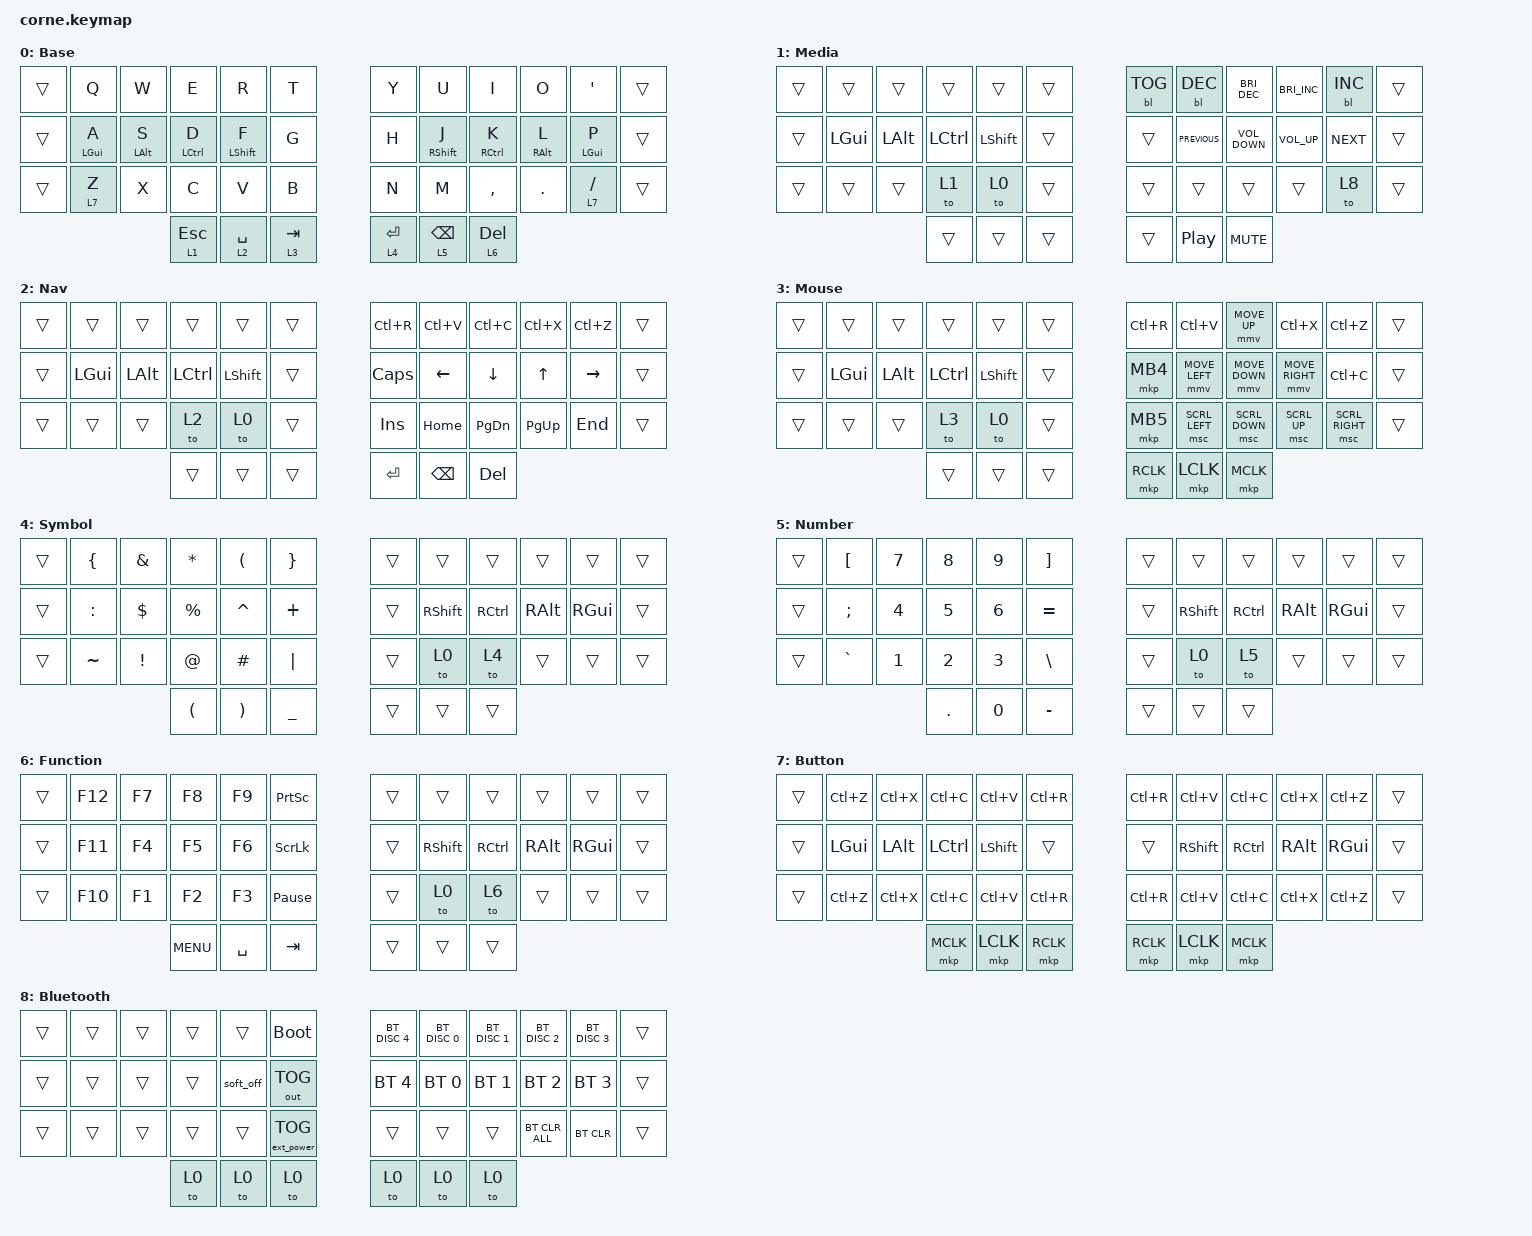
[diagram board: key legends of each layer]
/*
 * Copyright (c) 2020 The ZMK Contributors
 *
 * SPDX-License-Identifier: MIT
 */

#include <behaviors/mouse_keys.dtsi>
#include <dt-bindings/zmk/mouse.h>
#include <behaviors.dtsi>
#include <dt-bindings/zmk/backlight.h>
#include <dt-bindings/zmk/bt.h>
#include <dt-bindings/zmk/ext_power.h>
#include <dt-bindings/zmk/keys.h>
#include <dt-bindings/zmk/outputs.h>
#include <dt-bindings/zmk/pointing.h>

// Macro to apply momentary-layer-on-hold/to-layer-on-tap

#define MO_TO(layer) &mo_to layer layer

&mmv {
    time-to-max-speed-ms = <250>;
    acceleration-exponent = <1>;
};

/ {
    combos {
        compatible = "zmk,combos";

        // layer switch combo
    };
};

/ {
    behaviors {
        // Homerow mods from zmk website

        hml: home_row_mod_left {
            compatible = "zmk,behavior-hold-tap";
            #binding-cells = <2>;
            flavor = "balanced";
            require-prior-idle-ms = <150>;
            tapping-term-ms = <280>;
            quick-tap-ms = <175>;
            bindings = <&kp>, <&kp>;

            hold-trigger-key-positions = <
                6 7 8 9 10 11 
                18 19 20 21 22 23 
                30 31 32 33 34 35 
                39 40 41
            >;

            // List of keys on the right side of the keyboard

            hold-trigger-on-release;
        };

        hmr: home_row_mod_right {
            compatible = "zmk,behavior-hold-tap";
            #binding-cells = <2>;
            flavor = "balanced";
            require-prior-idle-ms = <150>;
            tapping-term-ms = <280>;
            quick-tap-ms = <175>;
            bindings = <&kp>, <&kp>;

            hold-trigger-key-positions = <
                0 1 2 3 4 5 
                12 13 14 15 16 17 
                24 25 26 27 28 29 
                36 37 38
            >;

            // List of keys on the left side of the keyboard

            hold-trigger-on-release;
        };

        // Hold tap for momentary layer on hold but to layer on tap

        mo_to: behavior_mo_to {
            compatible = "zmk,behavior-hold-tap";
            #binding-cells = <2>;
            flavor = "hold-preferred";
            tapping-term-ms = <200>;
            bindings = <&mo>, <&to>;
        };

        // Hold tap

        bsp_ctrl: tap_backspace_hold_ctrl {
            compatible = "zmk,behavior-hold-tap";
            #binding-cells = <2>;
            flavor = "hold-preferred";
            tapping-term-ms = <200>;
            quick-tap-ms = <200>;
            require-prior-idle-ms = <125>;
            bindings = <&kp>, <&kp>;

            retro-tap; // Triggers tap when releasing hold-tap key and no other key pressed
        };

        com_wind: tap_comma_hold_windows {
            compatible = "zmk,behavior-hold-tap";
            #binding-cells = <2>;
            flavor = "balanced";
            tapping-term-ms = <200>;
            quick-tap-ms = <200>;
            require-prior-idle-ms = <125>;
            bindings = <&kp>, <&kp>;
        };

        shft_entr: tap_enter_hold_shift {
            compatible = "zmk,behavior-hold-tap";
            #binding-cells = <2>;
            flavor = "tap-preferred";
            tapping-term-ms = <200>;
            bindings = <&kp>, <&kp>;
        };

        // Tapdance

        td_cb: tap_dance_backspace_ctrl {
            compatible = "zmk,behavior-tap-dance";
            #binding-cells = <0>;
            tapping-term-ms = <200>;
            bindings = <&mt LEFT_CONTROL BACKSPACE>, <&kp ESCAPE>;
        };

        td_sec: tap_dance_shift_enter_capslock {
            compatible = "zmk,behavior-tap-dance";
            #binding-cells = <0>;
            tapping-term-ms = <200>;
            bindings = <&shft_entr LSHIFT ENTER>, <&kp CAPSLOCK>;
        };

        td_qq: tap_dance_q_esc {
            compatible = "zmk,behavior-tap-dance";
            #binding-cells = <0>;
            tapping-term-ms = <250>;
            bindings = <&kp Q>, <&kp ESCAPE>;
        };

        td_quote: tap_dance_colon_quote {
            compatible = "zmk,behavior-tap-dance";
            #binding-cells = <0>;
            tapping-term-ms = <200>;
            bindings = <&kp SEMICOLON>, <&kp SQT>;
        };

        td_f11: tap_dance_f1_f11 {
            compatible = "zmk,behavior-tap-dance";
            #binding-cells = <0>;
            tapping-term-ms = <200>;
            bindings = <&kp F1>, <&kp F11>;
        };

        td_f12: tap_dance_f2_f12 {
            compatible = "zmk,behavior-tap-dance";
            #binding-cells = <0>;
            tapping-term-ms = <200>;
            bindings = <&kp F2>, <&kp F12>;
        };
    };

    keymap {
        compatible = "zmk,keymap";

        Base {
            display-name = "Base";
            bindings = <
&trans  &kp Q            &kp W            &kp E                &kp R              &kp T        &kp Y        &kp U               &kp I                 &kp O             &kp SINGLE_QUOTE  &trans
&trans  &hml LEFT_GUI A  &hml LEFT_ALT S  &hml LEFT_CONTROL D  &hml LEFT_SHIFT F  &kp G        &kp H        &hmr RIGHT_SHIFT J  &hmr RIGHT_CONTROL K  &hmr RIGHT_ALT L  &hmr LEFT_GUI P   &trans
&trans  &lt 7 Z          &kp X            &kp C                &kp V              &kp B        &kp N        &kp M               &kp COMMA             &kp DOT           &lt 7 SLASH       &trans
                                          &lt 1 ESCAPE         &lt 2 SPACE        &lt 3 TAB    &lt 4 ENTER  &lt 5 BACKSPACE     &lt 6 DELETE
            >;
        };

        Media {
            display-name = "Media";
            bindings = <
&trans  &trans    &trans    &trans     &trans     &trans    &bl BL_TOG  &bl BL_DEC        &kp C_BRIGHTNESS_DEC  &kp C_BRIGHTNESS_INC  &bl BL_INC  &trans
&trans  &kp LGUI  &kp LALT  &kp LCTRL  &kp LSHFT  &trans    &trans      &kp C_PREVIOUS    &kp C_VOLUME_DOWN     &kp C_VOLUME_UP       &kp C_NEXT  &trans
&trans  &trans    &trans    &to 1      &to 0      &trans    &trans      &trans            &trans                &trans                &to 8       &trans
                            &trans     &trans     &trans    &trans      &kp C_PLAY_PAUSE  &kp C_MUTE
            >;
        };

        Nav {
            display-name = "Nav";
            bindings = <
&trans  &trans    &trans    &trans     &trans     &trans    &kp LC(R)     &kp LC(V)      &kp LC(C)      &kp LC(X)    &kp LC(Z)  &trans
&trans  &kp LGUI  &kp LALT  &kp LCTRL  &kp LSHFT  &trans    &kp CAPSLOCK  &kp LEFT       &kp DOWN       &kp UP       &kp RIGHT  &trans
&trans  &trans    &trans    &to 2      &to 0      &trans    &kp INSERT    &kp HOME       &kp PAGE_DOWN  &kp PAGE_UP  &kp END    &trans
                            &trans     &trans     &trans    &kp RETURN    &kp BACKSPACE  &kp DELETE
            >;
        };

        Mouse {
            display-name = "Mouse";
            bindings = <
&trans  &trans    &trans    &trans     &trans     &trans    &kp LC(R)  &kp LC(V)       &mmv MOVE_UP    &kp LC(X)        &kp LC(Z)        &trans
&trans  &kp LGUI  &kp LALT  &kp LCTRL  &kp LSHFT  &trans    &mkp MB4   &mmv MOVE_LEFT  &mmv MOVE_DOWN  &mmv MOVE_RIGHT  &kp LC(C)        &trans
&trans  &trans    &trans    &to 3      &to 0      &trans    &mkp MB5   &msc SCRL_LEFT  &msc SCRL_DOWN  &msc SCRL_UP     &msc SCRL_RIGHT  &trans
                            &trans     &trans     &trans    &mkp RCLK  &mkp LCLK       &mkp MCLK
            >;
        };

        Sym {
            display-name = "Symbol";
            bindings = <
&trans  &kp LEFT_BRACE  &kp AMPERSAND    &kp ASTERISK          &kp LEFT_PARENTHESIS   &kp RIGHT_BRACE    &trans  &trans           &trans     &trans    &trans    &trans
&trans  &kp COLON       &kp DOLLAR       &kp PERCENT           &kp CARET              &kp PLUS           &trans  &kp RIGHT_SHIFT  &kp RCTRL  &kp RALT  &kp RGUI  &trans
&trans  &kp TILDE       &kp EXCLAMATION  &kp AT_SIGN           &kp HASH               &kp PIPE           &trans  &to 0            &to 4      &trans    &trans    &trans
                                         &kp LEFT_PARENTHESIS  &kp RIGHT_PARENTHESIS  &kp UNDERSCORE     &trans  &trans           &trans
            >;
        };

        Num {
            display-name = "Number";
            bindings = <
&trans  &kp LBKT   &kp N7  &kp N8   &kp N9  &kp RBKT     &trans  &trans     &trans     &trans    &trans    &trans
&trans  &kp SEMI   &kp N4  &kp N5   &kp N6  &kp EQUAL    &trans  &kp RSHFT  &kp RCTRL  &kp RALT  &kp RGUI  &trans
&trans  &kp GRAVE  &kp N1  &kp N2   &kp N3  &kp BSLH     &trans  &to 0      &to 5      &trans    &trans    &trans
                           &kp DOT  &kp N0  &kp MINUS    &trans  &trans     &trans
            >;
        };

        Fun {
            display-name = "Function";
            bindings = <
&trans  &kp F12  &kp F7  &kp F8      &kp F9     &kp PRINTSCREEN    &trans  &trans     &trans     &trans    &trans    &trans
&trans  &kp F11  &kp F4  &kp F5      &kp F6     &kp SCROLLLOCK     &trans  &kp RSHFT  &kp RCTRL  &kp RALT  &kp RGUI  &trans
&trans  &kp F10  &kp F1  &kp F2      &kp F3     &kp PAUSE_BREAK    &trans  &to 0      &to 6      &trans    &trans    &trans
                         &kp C_MENU  &kp SPACE  &kp TAB            &trans  &trans     &trans
            >;
        };

        Button {
            display-name = "Button";
            bindings = <
&trans  &kp LC(Z)  &kp LC(X)  &kp LC(C)  &kp LC(V)  &kp LC(R)    &kp LC(R)  &kp LC(V)  &kp LC(C)  &kp LC(X)  &kp LC(Z)  &trans
&trans  &kp LGUI   &kp LALT   &kp LCTRL  &kp LSHFT  &trans       &trans     &kp RSHFT  &kp RCTRL  &kp RALT   &kp RGUI   &trans
&trans  &kp LC(Z)  &kp LC(X)  &kp LC(C)  &kp LC(V)  &kp LC(R)    &kp LC(R)  &kp LC(V)  &kp LC(C)  &kp LC(X)  &kp LC(Z)  &trans
                              &mkp MCLK  &mkp LCLK  &mkp RCLK    &mkp RCLK  &mkp LCLK  &mkp MCLK
            >;
        };

        Bluetooth {
            display-name = "Bluetooth";
            bindings = <
&trans  &trans  &trans  &trans  &trans     &bootloader          &bt BT_DISC 4  &bt BT_DISC 0  &bt BT_DISC 1  &bt BT_DISC 2   &bt BT_DISC 3  &trans
&trans  &trans  &trans  &trans  &soft_off  &out OUT_TOG         &bt BT_SEL 4   &bt BT_SEL 0   &bt BT_SEL 1   &bt BT_SEL 2    &bt BT_SEL 3   &trans
&trans  &trans  &trans  &trans  &trans     &ext_power EP_TOG    &trans         &trans         &trans         &bt BT_CLR_ALL  &bt BT_CLR     &trans
                        &to 0   &to 0      &to 0                &to 0          &to 0          &to 0
            >;
        };
    };
};
